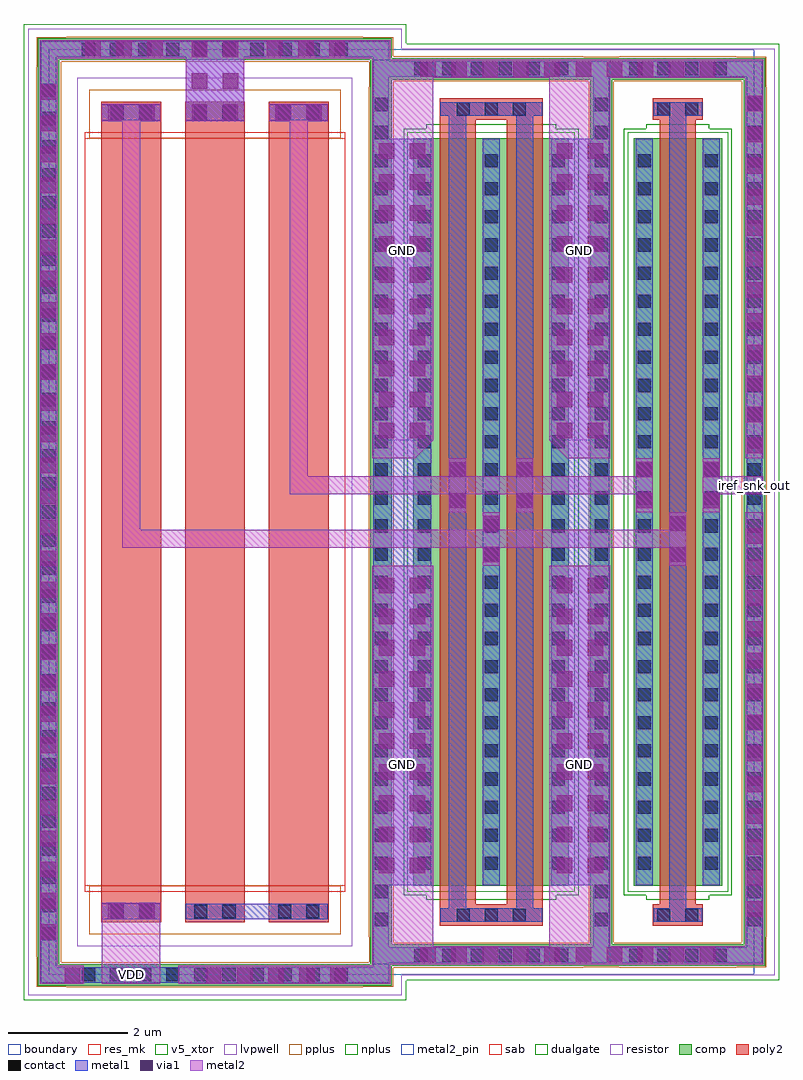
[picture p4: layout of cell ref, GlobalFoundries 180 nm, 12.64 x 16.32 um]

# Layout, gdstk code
import gdstk
lib = gdstk.Library(unit=1e-6, precision=1e-09)
def R(c, l, rs):  # rectangles x0, y0, x1, y1
    for r in rs: c.add(gdstk.rectangle(r[:2], r[2:], *l))
def A(c, l, x, y, w, h, nx, ny, dx, dy):  # array of equal rectangles
    R(c, l, [(x+i*dx, y+j*dy, x+i*dx+w, y+j*dy+h) for i in range(nx) for j in range(ny)])
def P(c, l, *ps):  # polygons
    for p in ps: c.add(gdstk.Polygon(p, *l))
boundary = (0, 0)
comp = (22, 0)
poly2 = (30, 0)
pplus = (31, 0)
nplus = (32, 0)
contact = (33, 0)
metal1 = (34, 0)
via1 = (35, 0)
metal2 = (36, 0)
metal2_pin = (36, 10)
sab = (49, 0)
dualgate = (55, 0)
resistor = (62, 0)
res_mk = (110, 5)
v5_xtor = (112, 1)
lvpwell = (204, 0)

ref_nmos_drv = lib.new_cell('ref_nmos_drv')
R(ref_nmos_drv, boundary, [(-1.28,-7.41,1.28,7.41)])
R(ref_nmos_drv, comp, [(-1.46,-7.59,1.46,-7.23), (-1.46,-7.23,-1.1,7.23), (1.1,-7.23,1.46,7.23), (-0.74,-6.25,0.74,6.25), (-1.46,7.23,1.46,7.59)])
R(ref_nmos_drv, poly2, [(-0.415,-6.92,0.415,-6.56), (-0.3,-6.56,0.3,6.56), (-0.415,6.56,0.415,6.92)])
R(ref_nmos_drv, pplus, [(-0.975,-7.62,0.975,-7.61), (-1.48,-7.61,1.48,-7.2), (-1.48,-7.2,-1.07,-7.105), (1.07,-7.2,1.48,-7.105), (-1.49,-7.105,-1.07,7.105), (1.07,-7.105,1.49,7.105), (-1.48,7.105,-1.07,7.2), (1.07,7.105,1.48,7.2), (-1.48,7.2,1.48,7.61), (-0.975,7.61,0.975,7.62)])
R(ref_nmos_drv, nplus, [(-0.53,-6.48,0.53,-6.41), (-0.9,-6.41,0.9,6.41), (-0.53,6.41,0.53,6.48)])
A(ref_nmos_drv, contact, -0.815, -7.52, 0.22, 0.22, 4, 2, 0.47, 14.82)
A(ref_nmos_drv, contact, -1.39, -6.925, 0.22, 0.22, 1, 30, 0, 0.47)
A(ref_nmos_drv, contact, 1.17, -6.925, 0.22, 0.22, 1, 30, 0, 0.47)
A(ref_nmos_drv, contact, -0.67, -5.985, 0.22, 0.22, 1, 26, 0, 0.47)
A(ref_nmos_drv, contact, 0.45, -5.985, 0.22, 0.22, 1, 26, 0, 0.47)
R(ref_nmos_drv, contact, [(-0.345,-6.85,-0.125,-6.63), (0.125,-6.85,0.345,-6.63), (-0.345,6.63,-0.125,6.85), (0.125,6.63,0.345,6.85)])
R(ref_nmos_drv, metal1, [(-1.395,-7.525,1.395,-7.295), (-1.395,-7.295,-1.165,7.295), (1.165,-7.295,1.395,7.295), (-0.405,-6.855,0.405,-6.625), (-0.675,-6.24,-0.445,6.24), (0.445,-6.24,0.675,6.24), (-0.405,6.625,0.405,6.855), (-1.395,7.295,1.395,7.525)])
R(ref_nmos_drv, dualgate, [(-1.7,-7.83,1.7,7.83)])
R(ref_nmos_drv, v5_xtor, [(-0.84,-6.35,0.84,6.35)])
R(ref_nmos_drv, lvpwell, [(-1.62,-7.75,1.62,7.75)])

ref_nmos_vth = lib.new_cell('ref_nmos_vth')
R(ref_nmos_vth, boundary, [(-1.84,-7.41,1.84,7.41)])
R(ref_nmos_vth, comp, [(-2.02,-7.59,2.02,-7.23), (-2.02,-7.23,-1.66,7.23), (1.66,-7.23,2.02,7.23), (-1.3,-6.25,1.3,6.25), (-2.02,7.23,2.02,7.59)])
R(ref_nmos_vth, poly2, [(-0.86,-6.92,0.86,-6.56), (-0.86,-6.56,-0.26,6.56), (0.26,-6.56,0.86,6.56), (-0.86,6.56,0.86,6.92)])
R(ref_nmos_vth, pplus, [(-1.535,-7.62,1.535,-7.61), (-2.04,-7.61,2.04,-7.2), (-2.04,-7.2,-1.63,-7.105), (1.63,-7.2,2.04,-7.105), (-2.05,-7.105,-1.63,7.105), (1.63,-7.105,2.05,7.105), (-2.04,7.105,-1.63,7.2), (1.63,7.105,2.04,7.2), (-2.04,7.2,2.04,7.61), (-1.535,7.61,1.535,7.62)])
R(ref_nmos_vth, nplus, [(-1.09,-6.48,1.09,-6.41), (-1.46,-6.41,1.46,6.41), (-1.09,6.41,1.09,6.48)])
A(ref_nmos_vth, contact, -1.285, -7.52, 0.22, 0.22, 6, 2, 0.47, 14.82)
A(ref_nmos_vth, contact, -1.95, -6.925, 0.22, 0.22, 1, 30, 0, 0.47)
A(ref_nmos_vth, contact, 1.73, -6.925, 0.22, 0.22, 1, 30, 0, 0.47)
A(ref_nmos_vth, contact, -0.58, -6.85, 0.22, 0.22, 3, 2, 0.47, 13.48)
A(ref_nmos_vth, contact, -1.23, -5.985, 0.22, 0.22, 3, 26, 1.12, 0.47)
A(ref_nmos_vth, metal1, -1.235, -6.24, 0.23, 12.48, 3, 1, 1.12, 0)
R(ref_nmos_vth, metal1, [(-1.955,-7.525,1.955,-7.295), (-1.955,-7.295,-1.725,7.295), (1.725,-7.295,1.955,7.295), (-0.85,-6.855,0.85,-6.625), (-0.85,6.625,0.85,6.855), (-1.955,7.295,1.955,7.525)])
R(ref_nmos_vth, dualgate, [(-2.26,-7.83,2.26,7.83)])
R(ref_nmos_vth, v5_xtor, [(-1.4,-6.35,1.4,6.35)])
R(ref_nmos_vth, lvpwell, [(-2.18,-7.75,2.18,7.75)])

ref_res = lib.new_cell('ref_res')
R(ref_res, boundary, [(-2.78,-7.74,2.78,7.74)])
R(ref_res, comp, [(-2.96,-7.92,2.96,-7.56), (-2.96,-7.56,-2.6,7.56), (2.6,-7.56,2.96,7.56), (-2.96,7.56,2.96,7.92)])
A(ref_res, poly2, -1.9, -6.86, 1, 13.72, 3, 1, 1.4, 0)
R(ref_res, pplus, [(-2.475,-7.95,2.475,-7.94), (-2.98,-7.94,2.98,-7.53), (-2.98,-7.53,-2.57,-7.435), (2.58,-7.53,2.98,-7.105), (-2.99,-7.435,-2.57,7.435), (2.57,-7.105,2.99,7.105), (-2.1,-7.06,2.1,-6.25), (-2.1,6.25,2.1,7.06), (2.58,7.105,2.98,7.53), (-2.98,7.435,-2.57,7.53), (-2.98,7.53,2.98,7.94), (-2.475,7.94,2.475,7.95)])
A(ref_res, contact, -2.225, -7.85, 0.22, 0.22, 10, 2, 0.47, 15.48)
A(ref_res, contact, -2.89, -7.16, 0.22, 0.22, 1, 31, 0, 0.47)
A(ref_res, contact, 2.67, -6.925, 0.22, 0.22, 1, 30, 0, 0.47)
R(ref_res, contact, [(-1.745,-6.79,-1.525,-6.57), (-1.275,-6.79,-1.055,-6.57), (-0.345,-6.79,-0.125,-6.57), (0.125,-6.79,0.345,-6.57), (1.055,-6.79,1.275,-6.57), (1.525,-6.79,1.745,-6.57), (-1.745,6.57,-1.525,6.79), (-1.275,6.57,-1.055,6.79), (-0.345,6.57,-0.125,6.79), (0.125,6.57,0.345,6.79), (1.055,6.57,1.275,6.79), (1.525,6.57,1.745,6.79)])
A(ref_res, metal1, -1.89, -6.795, 0.98, 0.23, 3, 2, 1.4, 13.36)
R(ref_res, metal1, [(-2.895,-7.855,2.895,-7.625), (-2.895,-7.625,-2.665,7.625), (2.665,-7.625,2.895,7.625), (-2.895,7.625,2.895,7.855)])
R(ref_res, sab, [(-2.18,-6.35,2.18,6.35), (-2.18,-6.25,2.18,6.25)])
R(ref_res, dualgate, [(-3.2,-8.16,3.2,8.16)])
R(ref_res, resistor, [(-2.3,-7.26,2.3,7.26)])
A(ref_res, res_mk, -1.9, -6.25, 1, 12.5, 3, 1, 1.4, 0)
R(ref_res, res_mk, [(-2.18,-6.25,2.18,6.25)])
R(ref_res, lvpwell, [(-3.12,-8.08,3.12,8.08)])

ref = lib.new_cell('ref')
R(ref, boundary, [(0,0,11.8,15.48)])
R(ref, pplus, [(5.76,0.12,5.865,0.13), (5.76,15.35,5.865,15.36)])
R(ref, metal1, [(-0.13,-0.13,5.69,0.13), (-0.13,0.13,0.13,15.35), (5.43,0.13,5.69,0.2), (5.43,0.2,11.93,0.46), (5.43,0.46,5.69,1.5), (9.11,0.46,9.37,1.5), (11.67,0.46,11.93,15.02), (0.89,0.93,1.87,1.19), (2.29,0.93,4.67,1.19), (6.69,1.115,6.98,14.365), (7.82,1.115,8.1,14.365), (10.38,1.115,10.66,14.365), (5.43,1.5,6.165,1.56), (7.26,1.5,7.54,13.98), (8.635,1.5,9.37,1.56), (9.82,1.5,10.1,13.98), (10.94,1.5,11.22,13.98), (5.43,1.56,6.395,6.78), (8.405,1.56,9.37,6.78), (5.43,6.78,6.165,8.965), (8.635,6.78,9.37,8.965), (5.43,8.965,6.395,13.92), (8.405,8.965,9.37,13.92), (5.43,13.92,6.165,13.98), (8.635,13.92,9.37,13.98), (5.43,13.98,5.69,15.02), (9.11,13.98,9.37,15.02), (0.89,14.29,1.87,14.55), (2.29,14.29,3.27,15.35), (3.69,14.29,4.67,14.55), (5.43,15.02,11.93,15.28), (5.43,15.28,5.69,15.35), (-0.13,15.35,5.69,15.61)])
A(ref, via1, 2.63, -0.13, 0.26, 0.26, 5, 1, 0.52, 0)
A(ref, via1, 6.21, 0.2, 0.26, 0.26, 10, 2, 0.52, 14.82)
A(ref, via1, -0.13, 0.59, 0.26, 0.26, 1, 28, 0, 0.52)
A(ref, via1, 11.67, 0.97, 0.26, 0.26, 1, 13, 0, 0.52)
A(ref, via1, 5.52, 1.7, 0.26, 0.26, 1, 10, 0, 0.52)
A(ref, via1, 6.04, 1.7, 0.26, 0.26, 1, 10, 0, 0.52)
A(ref, via1, 8.495, 1.7, 0.26, 0.26, 1, 10, 0, 0.52)
A(ref, via1, 9.015, 1.7, 0.26, 0.26, 1, 10, 0, 0.52)
A(ref, via1, 11.67, 8.72, 0.26, 0.26, 1, 12, 0, 0.52)
A(ref, via1, 5.52, 8.97, 0.26, 0.26, 1, 10, 0, 0.52)
A(ref, via1, 6.04, 8.97, 0.26, 0.26, 1, 10, 0, 0.52)
A(ref, via1, 8.495, 8.97, 0.26, 0.26, 1, 10, 0, 0.52)
A(ref, via1, 9.015, 8.97, 0.26, 0.26, 1, 10, 0, 0.52)
A(ref, via1, 2.39, 14.3, 0.26, 0.26, 1, 3, 0, 0.52)
A(ref, via1, 2.91, 14.3, 0.26, 0.26, 1, 3, 0, 0.52)
A(ref, via1, 0.61, 15.35, 0.26, 0.26, 3, 1, 0.52, 0)
A(ref, via1, 3.65, 15.35, 0.26, 0.26, 3, 1, 0.52, 0)
R(ref, via1, [(0.27,-0.13,0.53,0.13), (0.99,0.93,1.25,1.19), (1.51,0.93,1.77,1.19), (7.27,6.9,7.53,7.16), (10.39,6.9,10.65,7.16), (7.27,7.42,7.53,7.68), (10.39,7.42,10.65,7.68), (6.71,7.8,6.97,8.06), (7.83,7.8,8.09,8.06), (9.83,7.8,10.09,8.06), (10.95,7.8,11.21,8.06), (6.71,8.32,6.97,8.58), (7.83,8.32,8.09,8.58), (9.83,8.32,10.09,8.58), (10.95,8.32,11.21,8.58), (0.99,14.29,1.25,14.55), (1.51,14.29,1.77,14.55), (3.79,14.29,4.05,14.55), (4.31,14.29,4.57,14.55)])
R(ref, metal2, [(-0.15,-0.15,0.59,0.15), (0.89,-0.15,1.87,1.21), (2.17,-0.15,5.71,0.15), (-0.15,0.15,0.15,15.33), (5.41,0.15,5.71,0.18), (5.41,0.18,11.95,0.48), (5.41,0.48,6.43,6.84), (8.37,0.48,9.39,6.84), (11.65,0.48,11.95,7.74), (7.26,6.84,7.54,7.14), (10.38,6.84,10.66,7.14), (1.23,7.14,10.66,7.44), (1.23,7.44,1.53,14.27), (7.26,7.44,7.54,7.74), (10.38,7.44,10.66,7.74), (6.69,7.74,6.98,8.04), (7.82,7.74,8.1,8.04), (9.82,7.74,10.1,8.04), (10.94,7.74,11.22,8.04), (4.03,8.04,10.1,8.34), (10.94,8.04,11.95,8.34), (4.03,8.34,4.33,14.27), (6.69,8.34,6.98,8.64), (7.82,8.34,8.1,8.64), (9.82,8.34,10.1,8.64), (10.94,8.34,11.22,8.64), (5.41,8.64,6.13,8.7), (8.67,8.64,9.39,8.7), (11.65,8.64,11.95,15), (5.41,8.7,6.19,8.94), (8.61,8.7,9.39,8.94), (5.41,8.94,6.43,15), (8.37,8.94,9.39,15), (0.89,14.27,1.87,14.57), (2.29,14.27,3.27,15.33), (3.69,14.27,4.67,14.57), (5.41,15,11.95,15.3), (5.41,15.3,5.71,15.33), (-0.15,15.33,5.71,15.63)])
P(ref, metal2, [(8.67,8.64),(8.61,8.7),(8.67,8.7)],
  [(6.13,8.64),(6.13,8.7),(6.19,8.7)],
  [(8.61,8.7),(8.37,8.94),(8.61,8.94)],
  [(6.19,8.7),(6.19,8.94),(6.43,8.94)])
R(ref, metal2_pin, [(0.89,-0.15,1.87,0.15), (5.41,0.18,6.43,6.84), (8.37,0.18,9.39,6.84), (11.65,8.04,11.95,8.34), (5.41,8.94,6.43,15.3), (8.37,8.94,9.39,15.3)])
ref.add(gdstk.Reference(ref_nmos_drv, (10.52,7.74)))
ref.add(gdstk.Reference(ref_nmos_vth, (7.4,7.74)))
ref.add(gdstk.Reference(ref_res, (2.78,7.74)))
ref.add(gdstk.Label('iref_snk_out', (11.8,8.19), layer=36, texttype=10))
ref.add(gdstk.Label('VDD', (1.38,0), layer=36, texttype=10))
ref.add(gdstk.Label('GND', (5.92,3.51), layer=36, texttype=10))
ref.add(gdstk.Label('GND', (8.88,3.51), layer=36, texttype=10))
ref.add(gdstk.Label('GND', (5.92,12.12), layer=36, texttype=10))
ref.add(gdstk.Label('GND', (8.88,12.12), layer=36, texttype=10))

lib.write_gds('ref.gds')
